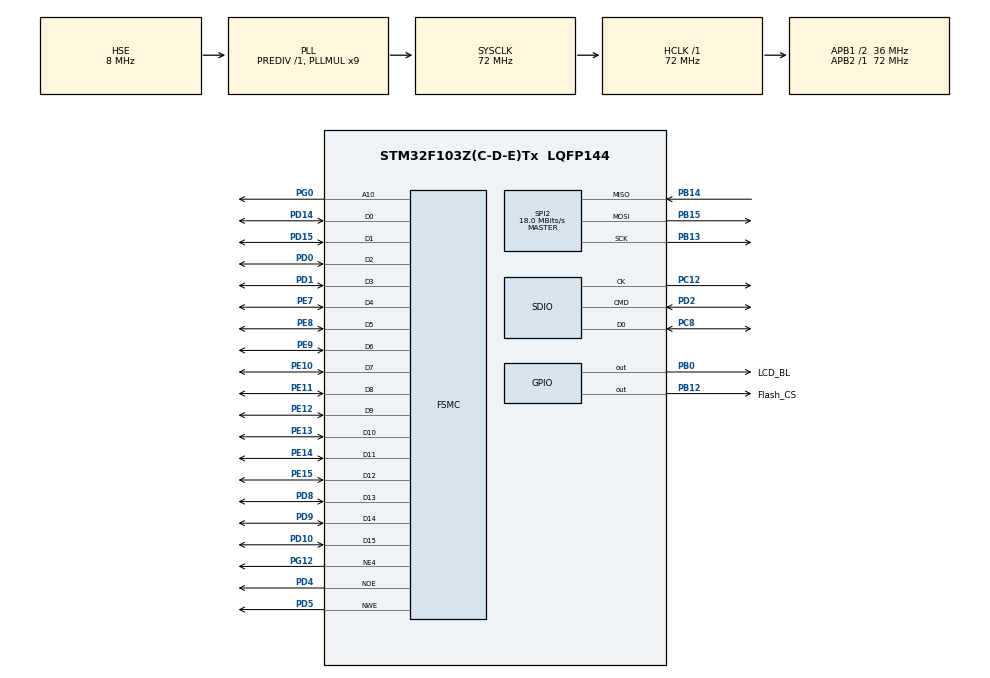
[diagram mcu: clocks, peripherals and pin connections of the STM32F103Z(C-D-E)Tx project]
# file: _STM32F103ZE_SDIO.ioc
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FATFS._MAX_SS=512
FSMC.AddressSetupTime1=1
FSMC.BusTurnAroundDuration1=0
FSMC.DataSetupTime1=15
FSMC.ExtendedAddressSetupTime1=0
FSMC.ExtendedBusTurnAroundDuration1=0
FSMC.ExtendedDataSetupTime1=3
FSMC.ExtendedMode1=FSMC_EXTENDED_MODE_ENABLE
Mcu.Family=STM32F1
Mcu.Name=STM32F103Z(C-D-E)Tx
Mcu.Package=LQFP144
NVIC.PriorityGroup=NVIC_PRIORITYGROUP_4
OSC_IN.Mode=HSE-External-Oscillator
OSC_IN.Signal=RCC_OSC_IN
OSC_OUT.Mode=HSE-External-Oscillator
OSC_OUT.Signal=RCC_OSC_OUT
PA13.Mode=Serial_Wire
PA13.Signal=SYS_JTMS-SWDIO
PA14.Mode=Serial_Wire
PA14.Signal=SYS_JTCK-SWCLK
PB0.GPIO_Label=LCD_BL
PB0.PinState=GPIO_PIN_SET
PB0.Signal=GPIO_Output
PB12.GPIO_Label=Flash_CS
PB12.GPIO_Speed=GPIO_SPEED_FREQ_HIGH
PB12.PinState=GPIO_PIN_SET
PB12.Signal=GPIO_Output
PB13.Mode=Full_Duplex_Master
PB13.Signal=SPI2_SCK
PB14.Mode=Full_Duplex_Master
PB14.Signal=SPI2_MISO
PB15.Mode=Full_Duplex_Master
PB15.Signal=SPI2_MOSI
PC12.Mode=SD_1_bit
PC12.Signal=SDIO_CK
PC8.Mode=SD_1_bit
PC8.Signal=SDIO_D0
PD0.Signal=FSMC_D2_DA2
PD1.Signal=FSMC_D3_DA3
PD10.Signal=FSMC_D15_DA15
PD14.Signal=FSMC_D0_DA0
PD15.Signal=FSMC_D1_DA1
PD2.Mode=SD_1_bit
PD2.Signal=SDIO_CMD
PD4.Signal=FSMC_NOE
PD5.Signal=FSMC_NWE
PD8.Signal=FSMC_D13_DA13
PD9.Signal=FSMC_D14_DA14
PE10.Signal=FSMC_D7_DA7
PE11.Signal=FSMC_D8_DA8
PE12.Signal=FSMC_D9_DA9
PE13.Signal=FSMC_D10_DA10
PE14.Signal=FSMC_D11_DA11
PE15.Signal=FSMC_D12_DA12
PE7.Signal=FSMC_D4_DA4
PE8.Signal=FSMC_D5_DA5
PE9.Signal=FSMC_D6_DA6
PG0.Signal=FSMC_A10
PG12.Mode=NorPsramChipSelect4_1
PG12.Signal=FSMC_NE4
ProjectManager.HeapSize=0x200
ProjectManager.StackSize=0x400
ProjectManager.TargetToolchain=STM32CubeIDE
RCC.AHBFreq_Value=72000000
RCC.APB1CLKDivider=RCC_HCLK_DIV2
RCC.APB1Freq_Value=36000000
RCC.APB1TimFreq_Value=72000000
RCC.APB2Freq_Value=72000000
RCC.APB2TimFreq_Value=72000000
RCC.HCLKFreq_Value=72000000
RCC.PLLMUL=RCC_PLL_MUL9
RCC.PLLSourceVirtual=RCC_PLLSOURCE_HSE
RCC.SYSCLKFreq_VALUE=72000000
RCC.SYSCLKSource=RCC_SYSCLKSOURCE_PLLCLK
RCC.USBFreq_Value=72000000
SDIO.ClockBypass=SDIO_CLOCK_BYPASS_DISABLE
SDIO.ClockDiv=1
SDIO.HardwareFlowControl=SDIO_HARDWARE_FLOW_CONTROL_ENABLE
SH.FSMC_A10.0=FSMC_A10,A10_1
SH.FSMC_D0_DA0.0=FSMC_D0,16b-d1
SH.FSMC_D10_DA10.0=FSMC_D10,16b-d1
SH.FSMC_D11_DA11.0=FSMC_D11,16b-d1
SH.FSMC_D12_DA12.0=FSMC_D12,16b-d1
SH.FSMC_D13_DA13.0=FSMC_D13,16b-d1
SH.FSMC_D14_DA14.0=FSMC_D14,16b-d1
SH.FSMC_D15_DA15.0=FSMC_D15,16b-d1
SH.FSMC_D1_DA1.0=FSMC_D1,16b-d1
SH.FSMC_D2_DA2.0=FSMC_D2,16b-d1
SH.FSMC_D3_DA3.0=FSMC_D3,16b-d1
SH.FSMC_D4_DA4.0=FSMC_D4,16b-d1
SH.FSMC_D5_DA5.0=FSMC_D5,16b-d1
SH.FSMC_D6_DA6.0=FSMC_D6,16b-d1
SH.FSMC_D7_DA7.0=FSMC_D7,16b-d1
SH.FSMC_D8_DA8.0=FSMC_D8,16b-d1
SH.FSMC_D9_DA9.0=FSMC_D9,16b-d1
SH.FSMC_NOE.0=FSMC_NOE,Lcd1
SH.FSMC_NWE.0=FSMC_NWE,Lcd1
SPI2.BaudRatePrescaler=SPI_BAUDRATEPRESCALER_2
SPI2.CalculateBaudRate=18.0 MBits/s
SPI2.Direction=SPI_DIRECTION_2LINES
SPI2.Mode=SPI_MODE_MASTER
SPI2.VirtualType=VM_MASTER
VP_FATFS_VS_SDIO.Mode=SDIO
board=custom

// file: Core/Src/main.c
/* USER CODE BEGIN Header */
/**
  ******************************************************************************
  * @file           : main.c
  * @brief          : Main program body
  ******************************************************************************
  * @attention
  *
  * Copyright (c) 2025 STMicroelectronics.
  * All rights reserved.
  *
  * This software is licensed under terms that can be found in the LICENSE file
  * in the root directory of this software component.
  * If no LICENSE file comes with this software, it is provided AS-IS.
  *
  ******************************************************************************
  */
/* USER CODE END Header */
#include "main.h"
#include "fatfs.h"
#include "sdio.h"
#include "spi.h"
#include "gpio.h"
#include "fsmc.h"

/* USER CODE BEGIN Includes */
#include "w25qxx.h"
#include "ili9341.h"
#include "pic02.h"
/* USER CODE END Includes */

/* USER CODE BEGIN PV */
uint8_t idx[12];
const uint8_t filename[] = {'p','i','c','0','1','.','b','i','n'};
uint8_t act_name[15];
FRESULT SD_RESULT;
/* USER CODE END PV */

void SystemClock_Config(void);

/* USER CODE BEGIN 0 */
//************************************
void copy_name(uint8_t data)
{
	uint32_t i;
	for(i = 0; i < sizeof(filename); i++)
	{
		act_name[i] = filename[i];
	}
	act_name[i] = 0;
	act_name[4] = data + 0x31; // set number of picture
}
//*****************************************
void lcd_setup_picture(uint8_t pic_nr)
{
    uint8_t dana ;
    uint16_t x, y;
    lcdOrientationTypeDef dana2;

    lcdOrientationTypeDef setup_pic[] = {
            LCD_ORIENTATION_LANDSCAPE,
            LCD_ORIENTATION_PORTRAIT_MIRROR,
            LCD_ORIENTATION_PORTRAIT,
            LCD_ORIENTATION_LANDSCAPE_MIRROR,
            LCD_ORIENTATION_LANDSCAPE_MIRROR,
            LCD_ORIENTATION_LANDSCAPE,
            LCD_ORIENTATION_LANDSCAPE,
            LCD_ORIENTATION_LANDSCAPE,
            LCD_ORIENTATION_LANDSCAPE,
            LCD_ORIENTATION_LANDSCAPE,
            LCD_ORIENTATION_LANDSCAPE
            };

    dana = pic_nr;
    if (dana > 10) {dana =0;}
    dana2 =  setup_pic[dana];
    lcdSetOrientation(dana2);

    x=319;
    y=239;

    if((dana2 == LCD_ORIENTATION_PORTRAIT  ) || (dana2 == LCD_ORIENTATION_PORTRAIT_MIRROR))
    {
        y=319;
        x=239;
    }
    lcdSetWindow(0, 0, x, y);
}
//************************************
void readPicFromFlash(void)
{
	uint32_t i;
	uint32_t page_nr, i2;
	uint16_t rx_buff[128];
	uint16_t* RX_ADDR  = (uint16_t*) &rx_buff[0];

	lcd_setup_picture(1);

	page_nr = 0;

	for(i = 0; i < 600; i++)
	{
		W25qxx_ReadPage((uint8_t*)RX_ADDR, page_nr, 0, 256);
		page_nr ++;
		for(i2 = 0; i2 < 128 ; i2++){
			LCD->LCD_RAM = rx_buff[i2];
		}
	}
}
//************************************
int open_file_From_SD(uint8_t file_nr)
{

	SD_RESULT = f_mount(&SDFatFS, (TCHAR const*)SDPath, 1);
	if( SD_RESULT != FR_OK)
	{
		lcdFillRGB(COLOR_CYAN);
		return 1;
	}
	copy_name(file_nr);
	lcd_setup_picture(file_nr);

	if(f_open(&SDFile, (char*) &act_name, FA_READ) != FR_OK)
	{
		lcdFillRGB(COLOR_YELLOW);
		f_mount(NULL, (TCHAR const*)NULL, 0);
		return 2;
	}

	return 0;
}
uint16_t rx_buff[256];
int readPicFrom_SD(uint8_t pic_nr)
{

	uint32_t i, i2, bytesread;
	uint16_t* RX_ADD  = (uint16_t*) &rx_buff[0];

	if((open_file_From_SD(pic_nr)) != 0){
		return 1;
	}

	for(i2 = 0; i2 < 300; i2++)
	{
		SD_RESULT = f_read(&SDFile, (uint8_t*) &rx_buff[0], 512, (void *)&bytesread);
		if((bytesread == 0) || (SD_RESULT != FR_OK))
		{
			lcdFillRGB(COLOR_RED);
			f_close(&SDFile);
			f_mount(NULL, (TCHAR const*)NULL, 0);
			return 2;
		}
		else
		{
			for(i=0;i<256;i++) { LCD_DataWrite(RX_ADD[i]); }
		}
	}

	f_close(&SDFile);
	f_mount(NULL, (TCHAR const*)NULL, 0);

	HAL_Delay(3000);

	return 0;
}
//*******************************************************************************************
// if you want store picture into external flash you need unrem line below "#define photos"
//#define save_photos

#ifdef save_photos
void savePicToFlash(void){

	uint32_t index=0;

	W25qxx_EraseBlock(0);
	W25qxx_EraseBlock(1);
	W25qxx_EraseBlock(2);

	W25qxx_WriteBlock((uint8_t*)&laki[index], 0, 0,65536);index+=65536/2;
	W25qxx_WriteBlock((uint8_t*)&laki[index], 1, 0,65536);index+=65536/2;
	W25qxx_WriteBlock((uint8_t*)&laki[index], 2, 0,22528);
}
#endif

//************************************
/* USER CODE END 0 */

int main(void)
{

  /* MCU Configuration--------------------------------------------------------*/

  /* Reset of all peripherals, Initializes the Flash interface and the Systick. */
  HAL_Init();

  /* Configure the system clock */
  SystemClock_Config();

  /* Initialize all configured peripherals */
  MX_GPIO_Init();
  MX_FSMC_Init();
  MX_SPI2_Init();
  MX_SDIO_SD_Init();
  MX_FATFS_Init();
  /* USER CODE BEGIN 2 */

  lcdSetTextFont(&Font16);
  LCD_ILI9341_init();
  lcd_setup_picture(1);

#ifdef save_photos
  if (W25qxx_Init()) {

	  lcdSetOrientation(LCD_ORIENTATION_LANDSCAPE);
	  lcdFillRGB(COLOR_BLACK);
	  lcdSetTextFont(&Font24);
	  lcdSetCursor(0, 70);
	  lcdPrintf(" WAIT FOR WRITE\n");
	  lcdPrintf("  DATA TO FLASH\n\n");
	  lcdPrintf("  ID : 0x%s\n", &idx[4]);
	  lcdSetTextFont(&Font16);
	  savePicToFlash();

	  lcdFillRGB(COLOR_BLUE);
	  readPicFromFlash();
  }
#endif

  /* USER CODE END 2 */

  /* Infinite loop */
  /* USER CODE BEGIN WHILE */
  while(1)
  {
	  lcdSetOrientation(LCD_ORIENTATION_LANDSCAPE);
	  lcdFillRGB(COLOR_BLACK);

	  lcdSetTextFont(&Font24);
	  lcdSetCursor(20, 100);
	  lcdPrintf("READ FROM SD CARD\n");
	  HAL_Delay(2000);

	  for(uint8_t pic = 0 ; pic < 7 ; pic++)
	  {
		  int stats = readPicFrom_SD(pic);
		  if(stats != 0)
		  {
			  lcdSetOrientation(LCD_ORIENTATION_LANDSCAPE);
			  lcdFillRGB(COLOR_BLACK);

			  lcdSetTextFont(&Font24);
			  lcdSetCursor(20, 100);
			  lcdPrintf("SD READ ERROR...\n");
			  HAL_Delay(2000);
			  break;
		  }
	  }

	  lcdSetOrientation(LCD_ORIENTATION_LANDSCAPE);
	  lcdFillRGB(COLOR_BLACK);

	  lcdSetTextFont(&Font24);
	  lcdSetCursor(20, 100);
	  lcdPrintf("TEST SPI FLASH\n");
	  HAL_Delay(2000);

	  lcdSetOrientation(LCD_ORIENTATION_LANDSCAPE);
	  lcdFillRGB(COLOR_BLACK);
	  lcdSetTextFont(&Font16);
	  lcdSetCursor(0, 10);
	  lcdPrintf("INIT OF SPI FLASH W25Qxx :");
	  if (W25qxx_Init())
	  {
		  lcdPrintf("OK\n");
		  lcdPrintf("FACTORY ID : 0x%s\n", &idx[4]);
		  lcdPrintf("CAPACITY :%d KB\n",w25qxx.CapacityInKiloByte);
		  lcdPrintf("SECTOR COUNT :%d\n",w25qxx.SectorCount);
		  lcdPrintf("SECTOR SIZE :%d\n",w25qxx.SectorSize);
		  lcdPrintf("BLOCK COUNT :%d\n",w25qxx.BlockCount);
		  lcdPrintf("BLOCK SIZE :%d\n",w25qxx.BlockSize);
		  lcdPrintf("PAGE COUNT :%d\n",w25qxx.PageCount);
		  lcdPrintf("PAGE SIZE :%d\n",w25qxx.PageSize);

		  lcdPrintf("DATA EXIST IN EXT. FLASH\n");
		  lcdPrintf("---------------------------\n");
		  lcdPrintf("-  READ EXT.  SPI  FLASH  -\n");
		  lcdPrintf("---------------------------\n");
		  HAL_Delay(5000);
		  lcdFillRGB(COLOR_BLACK);
		  lcdSetOrientation(LCD_ORIENTATION_LANDSCAPE);

		  lcdSetTextFont(&Font24);
		  lcdSetCursor(10, 50);
		  lcdPrintf("READ PIC FROM\n");
		  lcdPrintf("    W25Qxx\n");
		  lcdPrintf("EXT. SPI FLASH\n\n");
		  lcdPrintf("  ID : 0x%s", &idx[4]);
		  HAL_Delay(3500);
		  readPicFromFlash();
		  HAL_Delay(3000);
	  }
	  else
	  {
		  lcdSetTextFont(&Font24);
		  lcdSetCursor(70, 100);
		  lcdPrintf("FLASH ERROR...\n");
		  HAL_Delay(2000);
	  }

#ifdef save_photos
	  lcdFillRGB(COLOR_BLACK);
	  lcdSetOrientation(LCD_ORIENTATION_LANDSCAPE);
	  lcdSetTextFont(&Font24);
	  lcdSetCursor(10, 100);
	  lcdPrintf("READ INT. FLASH\n");
	  HAL_Delay(2000);
	  lcd_setup_picture(1);
	  for(uint32_t i = 0 ; i < 76800 ; i++) {
		  LCD->LCD_RAM = laki[i];
	  }
	  HAL_Delay(5000);
#endif

    /* USER CODE END WHILE */

  }
}

void SystemClock_Config(void)
{
  RCC_OscInitTypeDef RCC_OscInitStruct = {0};
  RCC_ClkInitTypeDef RCC_ClkInitStruct = {0};

  /** Initializes the RCC Oscillators according to the specified parameters
  * in the RCC_OscInitTypeDef structure.
  */
  RCC_OscInitStruct.OscillatorType = RCC_OSCILLATORTYPE_HSE;
  RCC_OscInitStruct.HSEState = RCC_HSE_ON;
  RCC_OscInitStruct.HSEPredivValue = RCC_HSE_PREDIV_DIV1;
  RCC_OscInitStruct.HSIState = RCC_HSI_ON;
  RCC_OscInitStruct.PLL.PLLState = RCC_PLL_ON;
  RCC_OscInitStruct.PLL.PLLSource = RCC_PLLSOURCE_HSE;
  RCC_OscInitStruct.PLL.PLLMUL = RCC_PLL_MUL9;
  if (HAL_RCC_OscConfig(&RCC_OscInitStruct) != HAL_OK)
  {
    Error_Handler();
  }

  /** Initializes the CPU, AHB and APB buses clocks
  */
  RCC_ClkInitStruct.ClockType = RCC_CLOCKTYPE_HCLK|RCC_CLOCKTYPE_SYSCLK
                              |RCC_CLOCKTYPE_PCLK1|RCC_CLOCKTYPE_PCLK2;
  RCC_ClkInitStruct.SYSCLKSource = RCC_SYSCLKSOURCE_PLLCLK;
  RCC_ClkInitStruct.AHBCLKDivider = RCC_SYSCLK_DIV1;
  RCC_ClkInitStruct.APB1CLKDivider = RCC_HCLK_DIV2;
  RCC_ClkInitStruct.APB2CLKDivider = RCC_HCLK_DIV1;

  if (HAL_RCC_ClockConfig(&RCC_ClkInitStruct, FLASH_LATENCY_2) != HAL_OK)
  {
    Error_Handler();
  }
}

void Error_Handler(void)
{
  __disable_irq();
  while (1)
  {
  }
}
